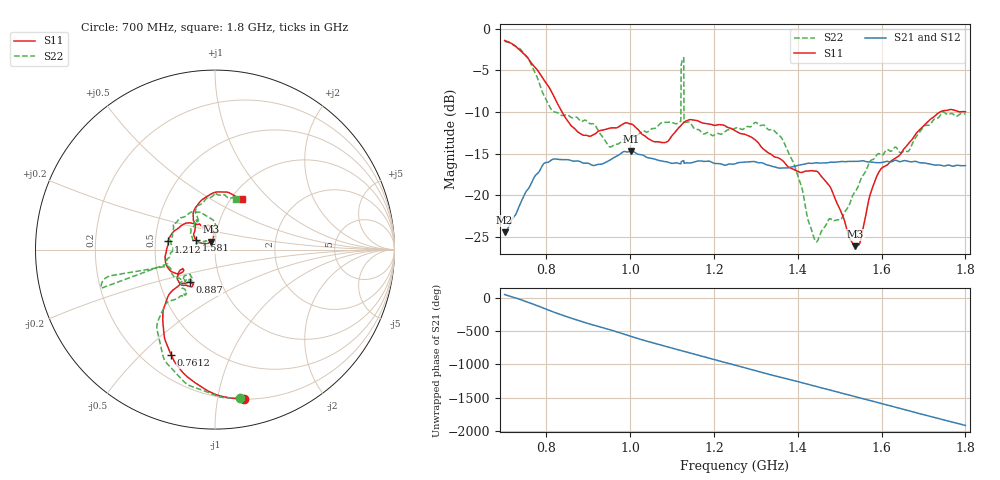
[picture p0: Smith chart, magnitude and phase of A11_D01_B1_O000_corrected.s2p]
! Created with skrf 1.9.0 (http://scikit-rf.org).
# Hz S RI R 50.0
!freq ReS11 ImS11 ReS21 ImS21 ReS12 ImS12 ReS22 ImS22
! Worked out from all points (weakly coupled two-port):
!   1601 points, 700 MHz to 1.8 GHz, reference 50 ohm
!   highest |S21| = -14.67 dB at 1.002 GHz (marker M1); lowest = -24.4 dB at 700 MHz (marker M2)
!   lowest |S11| = -26.1 dB at 1.537 GHz (marker M3), VSWR 1.10, Z = 47.5 + j4.17 ohm
!   |S11| at or under -10 dB: 837.2 MHz to 1.739 GHz (902.1 MHz wide, 70 % of centre)
!   |S22| runs from -25.6 to -1.5 dB; largest |S21 - S12| = 0.0036
!   S11 on the Smith chart (normalised r, x): 700 MHz: 0.20, -1.19; 761.2 MHz: 0.32, -0.62; 887 MHz: 0.71, -0.27; 1.212 GHz: 0.58, +0.06; 1.581 GHz: 0.81, +0.08; 1.8 GHz: 1.12, +0.70
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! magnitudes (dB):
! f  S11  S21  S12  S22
! 700 MHz  -1.4  -24.4  -24.2  -1.5
! 761.2 MHz  -3.9  -18.8  -18.7  -4.1
! 812.8 MHz  -7.6  -15.7  -15.7  -9.8
! 883.6 MHz  -12.7  -16.0  -15.9  -11.1
! 887 MHz  -12.8  -16.1  -16.0  -11.1
! 950.9 MHz  -11.9  -15.8  -15.8  -14.2
! 1.002 GHz  -11.4  -14.7  -14.8  -13.1
! 1.067 GHz  -13.6  -15.8  -15.7  -11.6
! 1.115 GHz  -11.9  -16.2  -16.2  -11.3
! 1.124 GHz  -11.4  -15.9  -15.8  -3.8
! 1.134 GHz  -11.1  -16.1  -16.2  -11.2
! 1.212 GHz  -11.5  -16.2  -16.2  -12.6
! 1.25 GHz  -12.2  -16.2  -16.1  -12.0
! 1.36 GHz  -15.7  -16.7  -16.7  -13.0
! 1.434 GHz  -17.0  -16.2  -16.1  -24.3
! 1.477 GHz  -18.9  -16.0  -16.0  -22.8
! 1.537 GHz  -26.1  -15.9  -15.9  -19.5
! 1.581 GHz  -18.6  -16.0  -16.0  -15.6
! 1.617 GHz  -16.2  -16.0  -15.9  -14.6
! 1.663 GHz  -13.8  -15.9  -15.9  -14.7
! 1.737 GHz  -10.1  -16.4  -16.4  -10.6
! 1.8 GHz  -10.0  -16.4  -16.4  -10.3
